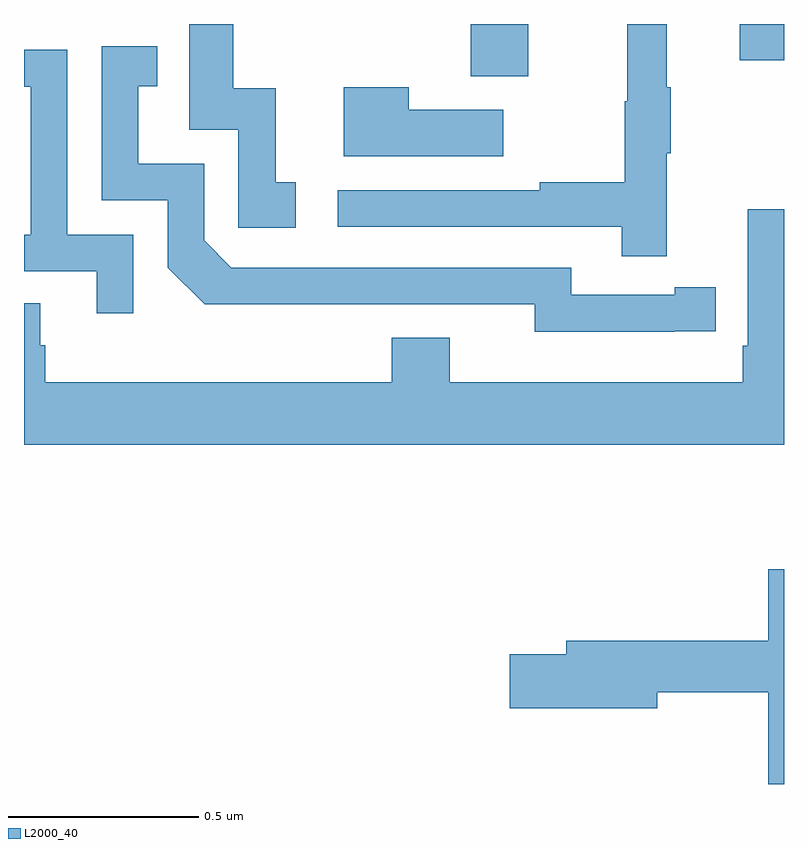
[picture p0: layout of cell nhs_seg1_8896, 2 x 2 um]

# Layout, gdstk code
import gdstk
lib = gdstk.Library(unit=1e-6, precision=1e-09)
def R(c, l, rs):  # rectangles x0, y0, x1, y1
    for r in rs: c.add(gdstk.rectangle(r[:2], r[2:], *l))
def P(c, l, *ps):  # polygons
    for p in ps: c.add(gdstk.Polygon(p, *l))
L2000_40 = (2000, 40)

nhs_seg1_8896 = lib.new_cell('nhs_seg1_8896')
R(nhs_seg1_8896, L2000_40, [(223.175,526.062,223.327,526.199), (223.883,526.104,224,526.199)])
P(nhs_seg1_8896, L2000_40, [(222.715,525.783),(222.662,525.783),(222.662,526.03),(222.551,526.03),(222.551,526.199),(222.435,526.199),(222.435,525.921),(222.564,525.921),(222.564,525.663),(222.715,525.663)],
  [(223.691,525.859),(223.702,525.859),(223.702,526.033),(223.691,526.033),(223.691,526.199),(223.588,526.199),(223.588,525.996),(223.581,525.996),(223.581,525.782),(223.357,525.782),(223.357,525.762),(222.825,525.762),(222.825,525.666),(223.573,525.666),(223.573,525.588),(223.691,525.588)],
  [(223.712,525.39),(223.82,525.39),(223.82,525.506),(223.712,525.506),(223.712,525.486),(223.44,525.486),(223.44,525.558),(222.546,525.558),(222.474,525.63),(222.474,525.831),(222.301,525.831),(222.301,526.035),(222.35,526.035),(222.35,526.141),(222.204,526.141),(222.204,525.735),(222.378,525.735),(222.378,525.558),(222.476,525.461),(222.884,525.461),(222.884,525.462),(223.344,525.462),(223.344,525.389),(223.712,525.389)],
  [(222.288,525.645),(222.114,525.645),(222.114,526.131),(222,526.131),(222,526.034),(222.018,526.034),(222.018,525.645),(222,525.645),(222,525.549),(222.191,525.549),(222.191,525.438),(222.288,525.438)],
  [(223.261,525.973),(223.013,525.973),(223.013,526.033),(222.842,526.033),(222.842,525.851),(223.261,525.851)],
  [(224,525.712),(223.905,525.712),(223.905,525.352),(223.892,525.352),(223.892,525.256),(223.12,525.256),(223.12,525.373),(222.968,525.373),(222.968,525.256),(222.056,525.256),(222.056,525.354),(222.043,525.354),(222.043,525.464),(222,525.464),(222,525.092),(224,525.092)],
  [(224,524.764),(223.958,524.764),(223.958,524.576),(223.427,524.576),(223.427,524.54),(223.278,524.54),(223.278,524.398),(223.666,524.398),(223.666,524.44),(223.958,524.44),(223.958,524.199),(224,524.199)])

lib.write_gds('nhs_seg1_8896.gds')
